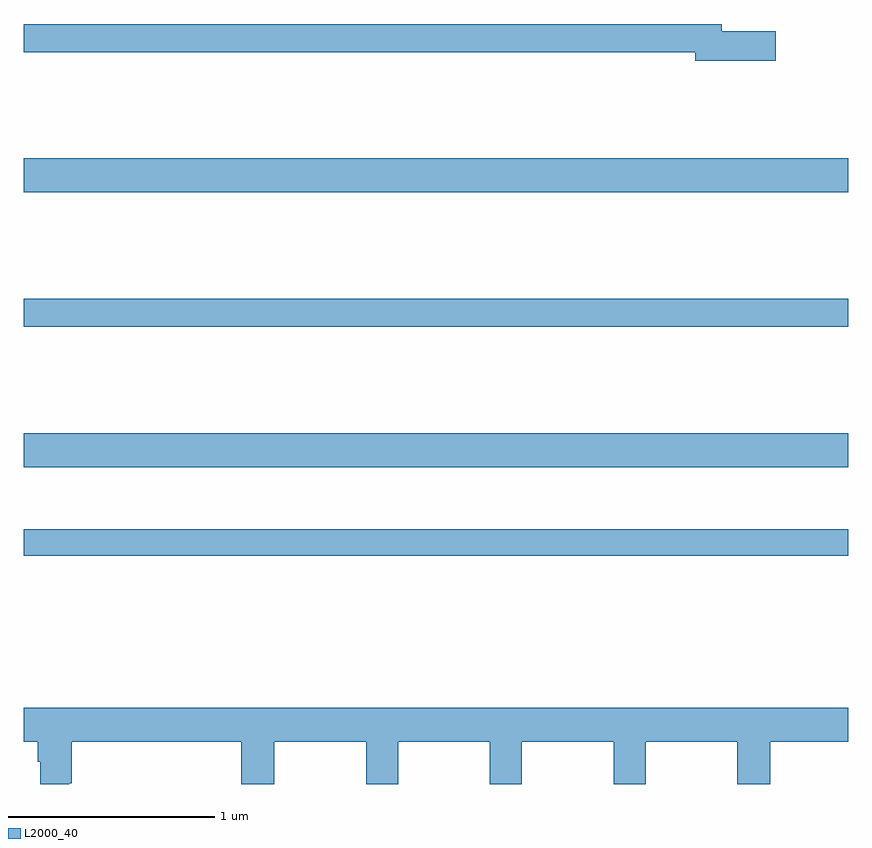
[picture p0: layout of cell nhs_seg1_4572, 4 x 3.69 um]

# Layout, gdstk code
import gdstk
lib = gdstk.Library(unit=1e-6, precision=1e-09)
def R(c, l, rs):  # rectangles x0, y0, x1, y1
    for r in rs: c.add(gdstk.rectangle(r[:2], r[2:], *l))
def P(c, l, *ps):  # polygons
    for p in ps: c.add(gdstk.Polygon(p, *l))
L2000_40 = (2000, 40)

nhs_seg1_4572 = lib.new_cell('nhs_seg1_4572')
R(nhs_seg1_4572, L2000_40, [(359,547.306,363,547.435), (359,547.736,363,547.9), (359,548.416,363,548.552), (359,549.068,363,549.232)])
P(nhs_seg1_4572, L2000_40, [(362.647,549.848),(362.386,549.848),(362.386,549.884),(359,549.884),(359,549.748),(362.258,549.748),(362.258,549.706),(362.647,549.706)],
  [(359.221,546.202),(359.234,546.202),(359.234,546.404),(360.056,546.404),(360.056,546.199),(360.216,546.199),(360.216,546.404),(360.661,546.404),(360.661,546.199),(360.816,546.199),(360.816,546.404),(361.261,546.404),(361.261,546.199),(361.416,546.199),(361.416,546.404),(361.861,546.404),(361.861,546.199),(362.016,546.199),(362.016,546.404),(362.461,546.404),(362.461,546.199),(362.621,546.199),(362.621,546.404),(363,546.404),(363,546.568),(359,546.568),(359,546.404),(359.069,546.404),(359.069,546.308),(359.081,546.308),(359.081,546.199),(359.221,546.199)])

lib.write_gds('nhs_seg1_4572.gds')
